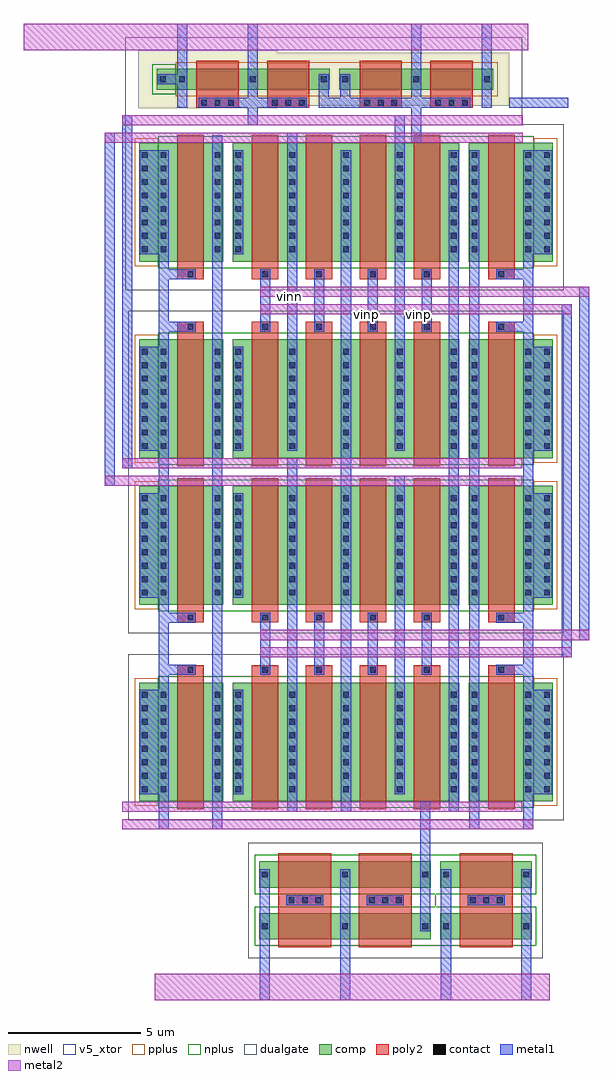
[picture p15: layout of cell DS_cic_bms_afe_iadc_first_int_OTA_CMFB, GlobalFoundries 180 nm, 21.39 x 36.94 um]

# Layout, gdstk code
from math import pi, radians
import gdstk
lib = gdstk.Library(unit=1e-6, precision=5e-09)
def R(c, l, rs):  # rectangles x0, y0, x1, y1
    for r in rs: c.add(gdstk.rectangle(r[:2], r[2:], *l))
def A(c, l, x, y, w, h, nx, ny, dx, dy):  # array of equal rectangles
    R(c, l, [(x+i*dx, y+j*dy, x+i*dx+w, y+j*dy+h) for i in range(nx) for j in range(ny)])
nwell = (21, 0)
comp = (22, 0)
poly2 = (30, 0)
pplus = (31, 0)
nplus = (32, 0)
contact = (33, 0)
metal1 = (34, 0)
metal2 = (36, 0)
dualgate = (55, 0)
v5_xtor = (112, 1)

nfet_3_9 = lib.new_cell('nfet$3$9')
R(nfet_3_9, comp, [(-0.42,0,0,4.5), (0,0,1.62,4.5), (1.62,0,2.04,4.5)])
R(nfet_3_9, poly2, [(0.31,-0.3,1.31,4.8), (0.31,4.8,1.31,5.16)])
R(nfet_3_9, nplus, [(-0.59,-0.24,2.21,4.74)])
A(nfet_3_9, contact, -0.32, 0.355, 0.22, 0.22, 1, 8, 0, 0.51)
A(nfet_3_9, contact, 1.72, 0.355, 0.22, 0.22, 1, 8, 0, 0.51)
R(nfet_3_9, contact, [(0.7,4.87,0.92,5.09)])
R(nfet_3_9, metal1, [(-0.4,0.275,-0.02,4.225), (1.64,0.275,2.02,4.225), (0.62,4.79,1,5.17)])
R(nfet_3_9, dualgate, [(-0.84,-0.71,2.46,5.58)])
R(nfet_3_9, v5_xtor, [(-0.84,-0.71,2.46,5.58)])

nfet_2_10 = lib.new_cell('nfet$2$10')
R(nfet_2_10, comp, [(-0.42,0,0,4.5), (0,0,1.62,4.5), (1.62,0,2.04,4.5), (2.04,0,2.75,4.5)])
R(nfet_2_10, poly2, [(0.31,-0.3,1.31,4.8), (0.31,4.8,1.31,5.16)])
R(nfet_2_10, pplus, [(2.04,-0.17,2.92,4.67)])
R(nfet_2_10, nplus, [(-0.59,-0.24,2.04,4.74)])
A(nfet_2_10, contact, -0.32, 0.355, 0.22, 0.22, 1, 8, 0, 0.51)
A(nfet_2_10, contact, 1.72, 0.355, 0.22, 0.22, 1, 8, 0, 0.51)
A(nfet_2_10, contact, 2.43, 0.355, 0.22, 0.22, 1, 8, 0, 0.51)
R(nfet_2_10, contact, [(0.7,4.87,0.92,5.09)])
R(nfet_2_10, metal1, [(-0.4,0.275,-0.02,4.225), (1.64,0.275,2.02,4.225), (2.35,0.275,2.73,4.225), (0.62,4.79,1,5.17)])
R(nfet_2_10, dualgate, [(-0.84,-0.71,3.17,5.58)])
R(nfet_2_10, v5_xtor, [(-0.84,-0.71,3.17,5.58)])

pfet_3_10 = lib.new_cell('pfet$3$10')
R(pfet_3_10, nwell, [(-1.15,-0.69,4.1,1.49)])
R(pfet_3_10, comp, [(-0.46,0,0,0.8), (0,0,2.22,0.8), (2.22,0,2.68,0.8), (2.68,0,3.41,0.8)])
R(pfet_3_10, poly2, [(0.31,-0.3,1.91,1.1), (0.31,1.1,1.91,1.48)])
R(pfet_3_10, pplus, [(-0.63,-0.24,2.68,1.04)])
R(pfet_3_10, nplus, [(2.68,-0.17,3.58,0.97)])
A(pfet_3_10, contact, 0.49, 1.18, 0.22, 0.22, 3, 1, 0.51, 0)
R(pfet_3_10, contact, [(-0.34,0.29,-0.12,0.51), (2.34,0.29,2.56,0.51), (3.07,0.29,3.29,0.51)])
R(pfet_3_10, metal1, [(-0.42,0.21,-0.04,0.59), (2.26,0.21,2.64,0.59), (2.99,0.21,3.37,0.59), (0.41,1.1,1.81,1.48)])
R(pfet_3_10, dualgate, [(-1.65,-1.19,4.6,1.99)])
R(pfet_3_10, v5_xtor, [(-1.65,-1.19,4.6,1.99)])

pfet_4_8 = lib.new_cell('pfet$4$8')
R(pfet_4_8, nwell, [(-1.07,-0.61,3.29,1.41)])
R(pfet_4_8, comp, [(-0.46,0,0,0.8), (0,0,2.22,0.8), (2.22,0,2.68,0.8)])
R(pfet_4_8, poly2, [(0.31,-0.3,1.91,1.1), (0.31,1.1,1.91,1.48)])
R(pfet_4_8, pplus, [(-0.63,-0.24,2.85,1.04)])
A(pfet_4_8, contact, 0.49, 1.18, 0.22, 0.22, 3, 1, 0.51, 0)
R(pfet_4_8, contact, [(-0.34,0.29,-0.12,0.51), (2.34,0.29,2.56,0.51)])
R(pfet_4_8, metal1, [(-0.42,0.21,-0.04,0.59), (2.26,0.21,2.64,0.59), (0.41,1.1,1.81,1.48)])
R(pfet_4_8, dualgate, [(-1.57,-1.11,3.79,1.91), (-0.88,-0.71,3.1,1.89)])
R(pfet_4_8, v5_xtor, [(-1.57,-1.11,3.79,1.91), (-0.88,-0.71,3.1,1.89)])

nfet_6_6 = lib.new_cell('nfet$6$6')
R(nfet_6_6, comp, [(-0.42,0,0,1), (0,0,2.62,1), (2.62,0,3.04,1)])
R(nfet_6_6, poly2, [(0.31,-0.3,2.31,1.3), (0.31,1.3,2.31,1.66)])
R(nfet_6_6, nplus, [(-0.59,-0.24,3.21,1.24)])
A(nfet_6_6, contact, 0.69, 1.37, 0.22, 0.22, 3, 1, 0.51, 0)
R(nfet_6_6, contact, [(-0.32,0.39,-0.1,0.61), (2.72,0.39,2.94,0.61)])
R(nfet_6_6, metal1, [(-0.4,0.31,-0.02,0.69), (2.64,0.31,3.02,0.69), (0.61,1.29,2.01,1.67)])
R(nfet_6_6, dualgate, [(-0.84,-0.71,3.46,2.08)])
R(nfet_6_6, v5_xtor, [(-0.84,-0.71,3.46,2.08)])

ds_cic_bms_afe_iadc_firs = lib.new_cell('DS_cic_bms_afe_iadc_first_int_OTA_CMFB')
R(ds_cic_bms_afe_iadc_firs, pplus, [(141,113.84,153.17,115.12)])
R(ds_cic_bms_afe_iadc_firs, nplus, [(150.82,81.68,150.84,85.12)])
R(ds_cic_bms_afe_iadc_firs, metal1, [(139.63,87.42,140.72,91.37), (154.145,87.42,155.235,91.37), (139.63,94.86,140.72,98.81), (154.145,94.86,155.235,98.81), (139.63,100.41,140.72,104.36), (154.145,100.41,155.235,104.36), (139.63,107.85,140.72,111.8), (154.145,107.85,155.235,111.8), (140.31,114.29,141.42,114.67)])
R(ds_cic_bms_afe_iadc_firs, dualgate, [(139.08,106.495,154.11,116.07)])
R(ds_cic_bms_afe_iadc_firs, v5_xtor, [(139.08,106.495,154.11,116.07)])
ds_cic_bms_afe_iadc_firs.add(gdstk.FlexPath([(154.26,84.57),(154.26,79.63)], 0.38, ends="flush", simple_path=True, layer=34, datatype=0))  # metal1
ds_cic_bms_afe_iadc_firs.add(gdstk.FlexPath([(147.4,84.57),(147.4,79.63)], 0.38, ends="flush", simple_path=True, layer=34, datatype=0))  # metal1
ds_cic_bms_afe_iadc_firs.add(gdstk.FlexPath([(144.36,84.57),(144.36,79.63)], 0.38, ends="flush", simple_path=True, layer=34, datatype=0))  # metal1
ds_cic_bms_afe_iadc_firs.add(gdstk.FlexPath([(151.22,84.57),(151.22,79.63)], 0.38, ends="flush", simple_path=True, layer=34, datatype=0))  # metal1
ds_cic_bms_afe_iadc_firs.add(gdstk.FlexPath([(150.44,82.23),(150.44,87.145)], 0.38, ends="flush", simple_path=True, layer=34, datatype=0))  # metal1
ds_cic_bms_afe_iadc_firs.add(gdstk.FlexPath([(142.57,112.36),(142.57,86.095)], 0.38, ends="flush", simple_path=True, layer=34, datatype=0))  # metal1
ds_cic_bms_afe_iadc_firs.add(gdstk.FlexPath([(147.435,111.8),(147.435,86.76)], 0.38, ends="flush", simple_path=True, layer=34, datatype=0))  # metal1
ds_cic_bms_afe_iadc_firs.add(gdstk.FlexPath([(144.375,107.285),(144.375,106.245)], 0.38, ends="flush", simple_path=True, layer=34, datatype=0))  # metal1
ds_cic_bms_afe_iadc_firs.add(gdstk.FlexPath([(146.415,107.285),(146.415,106.245)], 0.38, ends="flush", simple_path=True, layer=34, datatype=0))  # metal1
ds_cic_bms_afe_iadc_firs.add(gdstk.FlexPath([(146.415,104.925),(146.415,106.625)], 0.38, ends="flush", simple_path=True, layer=34, datatype=0))  # metal1
ds_cic_bms_afe_iadc_firs.add(gdstk.FlexPath([(144.375,104.935),(144.375,106.625)], 0.38, ends="flush", simple_path=True, layer=34, datatype=0))  # metal1
ds_cic_bms_afe_iadc_firs.add(gdstk.FlexPath([(148.455,107.285),(148.455,104.925)], 0.38, ends="flush", simple_path=True, layer=34, datatype=0))  # metal1
ds_cic_bms_afe_iadc_firs.add(gdstk.FlexPath([(150.495,107.285),(150.495,104.925)], 0.38, ends="flush", simple_path=True, layer=34, datatype=0))  # metal1
ds_cic_bms_afe_iadc_firs.add(gdstk.FlexPath([(144.375,94.295),(144.375,93.255)], 0.38, ends="flush", simple_path=True, layer=34, datatype=0))  # metal1
ds_cic_bms_afe_iadc_firs.add(gdstk.FlexPath([(146.415,94.295),(146.415,93.255)], 0.38, ends="flush", simple_path=True, layer=34, datatype=0))  # metal1
ds_cic_bms_afe_iadc_firs.add(gdstk.FlexPath([(146.415,91.935),(146.415,93.635)], 0.38, ends="flush", simple_path=True, layer=34, datatype=0))  # metal1
ds_cic_bms_afe_iadc_firs.add(gdstk.FlexPath([(144.375,91.945),(144.375,93.635)], 0.38, ends="flush", simple_path=True, layer=34, datatype=0))  # metal1
ds_cic_bms_afe_iadc_firs.add(gdstk.FlexPath([(148.455,94.295),(148.455,91.935)], 0.38, ends="flush", simple_path=True, layer=34, datatype=0))  # metal1
ds_cic_bms_afe_iadc_firs.add(gdstk.FlexPath([(150.495,94.295),(150.495,91.935)], 0.38, ends="flush", simple_path=True, layer=34, datatype=0))  # metal1
ds_cic_bms_afe_iadc_firs.add(gdstk.FlexPath([(145.395,100.41),(145.395,112.46)], 0.38, ends="flush", simple_path=True, layer=34, datatype=0))  # metal1
ds_cic_bms_afe_iadc_firs.add(gdstk.FlexPath([(149.475,87.42),(149.475,99.47)], 0.38, ends="flush", simple_path=True, layer=34, datatype=0))  # metal1
ds_cic_bms_afe_iadc_firs.add(gdstk.FlexPath([(145.395,86.76),(145.395,100.135)], 0.38, ends="flush", simple_path=True, layer=34, datatype=0))  # metal1
ds_cic_bms_afe_iadc_firs.add(gdstk.FlexPath([(145.375,113.59),(143.145,113.59)], 0.38, ends="flush", simple_path=True, layer=34, datatype=0))  # metal1
ds_cic_bms_afe_iadc_firs.add(gdstk.FlexPath([(151.555,113.59),(149.325,113.59)], 0.38, ends="flush", simple_path=True, layer=34, datatype=0))  # metal1
ds_cic_bms_afe_iadc_firs.add(gdstk.FlexPath([(146.655,113.59),(148.885,113.59)], 0.38, ends="flush", simple_path=True, layer=34, datatype=0))  # metal1
ds_cic_bms_afe_iadc_firs.add(gdstk.FlexPath([(140.53,111.8),(140.53,86.095)], 0.38, ends="flush", simple_path=True, layer=34, datatype=0))  # metal1
ds_cic_bms_afe_iadc_firs.add(gdstk.FlexPath([(153.615,113.59),(155.845,113.59)], 0.38, ends="flush", simple_path=True, layer=34, datatype=0))  # metal1
ds_cic_bms_afe_iadc_firs.add(gdstk.FlexPath([(149.475,100.41),(149.475,113.12)], 0.38, ends="flush", simple_path=True, layer=34, datatype=0))  # metal1
ds_cic_bms_afe_iadc_firs.add(gdstk.FlexPath([(153.125,92.125),(154.525,92.125)], 0.38, ends="flush", simple_path=True, layer=34, datatype=0))  # metal1
ds_cic_bms_afe_iadc_firs.add(gdstk.FlexPath([(153.125,94.105),(154.525,94.105)], 0.38, ends="flush", simple_path=True, layer=34, datatype=0))  # metal1
ds_cic_bms_afe_iadc_firs.add(gdstk.FlexPath([(153.125,105.115),(154.525,105.115)], 0.38, ends="flush", simple_path=True, layer=34, datatype=0))  # metal1
ds_cic_bms_afe_iadc_firs.add(gdstk.FlexPath([(153.125,107.095),(154.525,107.095)], 0.38, ends="flush", simple_path=True, layer=34, datatype=0))  # metal1
ds_cic_bms_afe_iadc_firs.add(gdstk.FlexPath([(154.335,111.8),(154.335,86.76),(154.335,86.095)], 0.38, ends="flush", simple_path=True, layer=34, datatype=0))  # metal1
ds_cic_bms_afe_iadc_firs.add(gdstk.FlexPath([(152.295,111.8),(152.295,86.095)], 0.38, ends="flush", simple_path=True, layer=34, datatype=0))  # metal1
ds_cic_bms_afe_iadc_firs.add(gdstk.FlexPath([(156.445,106.625),(156.445,93.255)], 0.38, ends="flush", simple_path=True, layer=34, datatype=0))  # metal1
ds_cic_bms_afe_iadc_firs.add(gdstk.FlexPath([(155.785,105.965),(155.785,92.595)], 0.38, ends="flush", simple_path=True, layer=34, datatype=0))  # metal1
ds_cic_bms_afe_iadc_firs.add(gdstk.FlexPath([(151.515,111.8),(151.515,86.76)], 0.38, ends="flush", simple_path=True, layer=34, datatype=0))  # metal1
ds_cic_bms_afe_iadc_firs.add(gdstk.FlexPath([(141.74,107.095),(140.34,107.095),(140.34,107.095)], 0.38, ends="flush", simple_path=True, layer=34, datatype=0))  # metal1
ds_cic_bms_afe_iadc_firs.add(gdstk.FlexPath([(141.74,105.115),(140.34,105.115)], 0.38, ends="flush", simple_path=True, layer=34, datatype=0))  # metal1
ds_cic_bms_afe_iadc_firs.add(gdstk.FlexPath([(141.74,94.105),(140.34,94.105),(140.34,94.105),(140.34,94.105)], 0.38, ends="flush", simple_path=True, layer=34, datatype=0))  # metal1
ds_cic_bms_afe_iadc_firs.add(gdstk.FlexPath([(141.74,92.125),(140.34,92.125)], 0.38, ends="flush", simple_path=True, layer=34, datatype=0))  # metal1
ds_cic_bms_afe_iadc_firs.add(gdstk.FlexPath([(139.16,113.12),(139.16,99.75)], 0.38, ends="flush", simple_path=True, layer=34, datatype=0))  # metal1
ds_cic_bms_afe_iadc_firs.add(gdstk.FlexPath([(138.5,112.46),(138.5,99.09)], 0.38, ends="flush", simple_path=True, layer=34, datatype=0))  # metal1
ds_cic_bms_afe_iadc_firs.add(gdstk.FlexPath([(150.09,112.08),(150.09,116.57)], 0.38, ends="flush", simple_path=True, layer=34, datatype=0))  # metal1
ds_cic_bms_afe_iadc_firs.add(gdstk.FlexPath([(152.77,113.4),(152.77,116.57)], 0.38, ends="flush", simple_path=True, layer=34, datatype=0))  # metal1
ds_cic_bms_afe_iadc_firs.add(gdstk.FlexPath([(143.91,112.74),(143.91,116.57)], 0.38, ends="flush", simple_path=True, layer=34, datatype=0))  # metal1
ds_cic_bms_afe_iadc_firs.add(gdstk.FlexPath([(141.23,113.4),(141.23,116.57)], 0.38, ends="flush", simple_path=True, layer=34, datatype=0))  # metal1
ds_cic_bms_afe_iadc_firs.add(gdstk.FlexPath([(147.41,114.67),(147.41,113.4)], 0.38, ends="flush", simple_path=True, layer=34, datatype=0))  # metal1
ds_cic_bms_afe_iadc_firs.add(gdstk.FlexPath([(146.59,114.67),(146.59,113.4)], 0.38, ends="flush", simple_path=True, layer=34, datatype=0))  # metal1
ds_cic_bms_afe_iadc_firs.add(gdstk.FlexPath([(138.97,86.285),(154.525,86.285)], 0.38, ends="flush", simple_path=True, layer=36, datatype=0))  # metal2
ds_cic_bms_afe_iadc_firs.add(gdstk.FlexPath([(144.185,106.435),(156.635,106.435)], 0.38, ends="flush", simple_path=True, layer=36, datatype=0))  # metal2
ds_cic_bms_afe_iadc_firs.add(gdstk.FlexPath([(144.185,105.775),(155.975,105.775)], 0.38, ends="flush", simple_path=True, layer=36, datatype=0))  # metal2
ds_cic_bms_afe_iadc_firs.add(gdstk.FlexPath([(144.185,93.445),(156.635,93.445)], 0.38, ends="flush", simple_path=True, layer=36, datatype=0))  # metal2
ds_cic_bms_afe_iadc_firs.add(gdstk.FlexPath([(144.185,92.785),(155.975,92.785)], 0.38, ends="flush", simple_path=True, layer=36, datatype=0))  # metal2
ds_cic_bms_afe_iadc_firs.add(gdstk.FlexPath([(140.195,80.13),(155.145,80.13)], 1, ends="flush", simple_path=True, layer=36, datatype=0))  # metal2
ds_cic_bms_afe_iadc_firs.add(gdstk.FlexPath([(138.97,112.93),(154.12,112.93)], 0.38, ends="flush", simple_path=True, layer=36, datatype=0))  # metal2
ds_cic_bms_afe_iadc_firs.add(gdstk.FlexPath([(138.31,112.27),(154.12,112.27)], 0.38, ends="flush", simple_path=True, layer=36, datatype=0))  # metal2
ds_cic_bms_afe_iadc_firs.add(gdstk.FlexPath([(138.31,99.28),(154.11,99.28)], 0.38, ends="flush", simple_path=True, layer=36, datatype=0))  # metal2
ds_cic_bms_afe_iadc_firs.add(gdstk.FlexPath([(138.97,99.94),(154.11,99.94)], 0.38, ends="flush", simple_path=True, layer=36, datatype=0))  # metal2
ds_cic_bms_afe_iadc_firs.add(gdstk.FlexPath([(138.97,86.95),(154.11,86.95)], 0.38, ends="flush", simple_path=True, layer=36, datatype=0))  # metal2
ds_cic_bms_afe_iadc_firs.add(gdstk.FlexPath([(154.34,116.07),(135.245,116.07)], 1, ends="flush", simple_path=True, layer=36, datatype=0))  # metal2
ds_cic_bms_afe_iadc_firs.add(gdstk.Reference(nfet_3_9, (151.305,112.075), rotation=pi))
ds_cic_bms_afe_iadc_firs.add(gdstk.Reference(nfet_3_9, (147.225,112.075), rotation=pi))
ds_cic_bms_afe_iadc_firs.add(gdstk.Reference(nfet_3_9, (145.185,112.075), rotation=pi))
ds_cic_bms_afe_iadc_firs.add(gdstk.Reference(nfet_2_10, (142.36,112.075), rotation=pi))
ds_cic_bms_afe_iadc_firs.add(gdstk.Reference(nfet_3_9, (145.185,100.135), rotation=pi, x_reflection=True))
ds_cic_bms_afe_iadc_firs.add(gdstk.Reference(nfet_3_9, (147.225,100.135), rotation=pi, x_reflection=True))
ds_cic_bms_afe_iadc_firs.add(gdstk.Reference(nfet_2_10, (142.36,100.135), rotation=pi, x_reflection=True))
ds_cic_bms_afe_iadc_firs.add(gdstk.Reference(nfet_3_9, (149.265,112.075), rotation=pi))
ds_cic_bms_afe_iadc_firs.add(gdstk.Reference(nfet_3_9, (149.265,100.135), rotation=pi, x_reflection=True))
ds_cic_bms_afe_iadc_firs.add(gdstk.Reference(nfet_3_9, (151.305,100.135), rotation=pi, x_reflection=True))
ds_cic_bms_afe_iadc_firs.add(gdstk.Reference(nfet_3_9, (151.305,99.085), rotation=pi))
ds_cic_bms_afe_iadc_firs.add(gdstk.Reference(nfet_3_9, (147.225,99.085), rotation=pi))
ds_cic_bms_afe_iadc_firs.add(gdstk.Reference(nfet_3_9, (145.185,99.085), rotation=pi))
ds_cic_bms_afe_iadc_firs.add(gdstk.Reference(nfet_2_10, (142.36,99.085), rotation=pi))
ds_cic_bms_afe_iadc_firs.add(gdstk.Reference(nfet_3_9, (145.185,87.145), rotation=pi, x_reflection=True))
ds_cic_bms_afe_iadc_firs.add(gdstk.Reference(nfet_3_9, (147.225,87.145), rotation=pi, x_reflection=True))
ds_cic_bms_afe_iadc_firs.add(gdstk.Reference(nfet_2_10, (142.36,87.145), rotation=pi, x_reflection=True))
ds_cic_bms_afe_iadc_firs.add(gdstk.Reference(nfet_3_9, (149.265,99.085), rotation=pi))
ds_cic_bms_afe_iadc_firs.add(gdstk.Reference(nfet_3_9, (149.265,87.145), rotation=pi, x_reflection=True))
ds_cic_bms_afe_iadc_firs.add(gdstk.Reference(nfet_3_9, (151.305,87.145), rotation=pi, x_reflection=True))
ds_cic_bms_afe_iadc_firs.add(gdstk.Reference(pfet_3_10, (143.68,114.88), rotation=pi))
ds_cic_bms_afe_iadc_firs.add(gdstk.Reference(pfet_4_8, (152.54,114.88), rotation=pi))
ds_cic_bms_afe_iadc_firs.add(gdstk.Reference(pfet_4_8, (149.86,114.88), rotation=pi))
ds_cic_bms_afe_iadc_firs.add(gdstk.Reference(pfet_4_8, (146.36,114.88), rotation=pi))
ds_cic_bms_afe_iadc_firs.add(gdstk.Reference(nfet_6_6, (150.23,84.88), rotation=pi))
ds_cic_bms_afe_iadc_firs.add(gdstk.Reference(nfet_6_6, (154.05,84.88), rotation=pi))
ds_cic_bms_afe_iadc_firs.add(gdstk.Reference(nfet_6_6, (147.19,84.88), rotation=pi))
ds_cic_bms_afe_iadc_firs.add(gdstk.Reference(nfet_6_6, (147.19,81.92), rotation=pi, x_reflection=True))
ds_cic_bms_afe_iadc_firs.add(gdstk.Reference(nfet_6_6, (154.05,81.92), rotation=pi, x_reflection=True))
ds_cic_bms_afe_iadc_firs.add(gdstk.Reference(nfet_6_6, (150.23,81.92), rotation=pi, x_reflection=True))
ds_cic_bms_afe_iadc_firs.add(gdstk.Reference(nfet_2_10, (152.505,87.145)))
ds_cic_bms_afe_iadc_firs.add(gdstk.Reference(nfet_2_10, (152.505,99.085), x_reflection=True))
ds_cic_bms_afe_iadc_firs.add(gdstk.Reference(nfet_2_10, (152.505,100.135)))
ds_cic_bms_afe_iadc_firs.add(gdstk.Reference(nfet_2_10, (152.505,112.075), x_reflection=True))
ds_cic_bms_afe_iadc_firs.add(gdstk.Label('vinn', (145.315,106.245), layer=34, texttype=0))
ds_cic_bms_afe_iadc_firs.add(gdstk.Label('vinp', (150.165,105.585), layer=34, texttype=0))
ds_cic_bms_afe_iadc_firs.add(gdstk.Label('vinp', (148.22,105.585), layer=34, texttype=0))

lib.write_gds('DS_cic_bms_afe_iadc_first_int_OTA_CMFB.gds')
